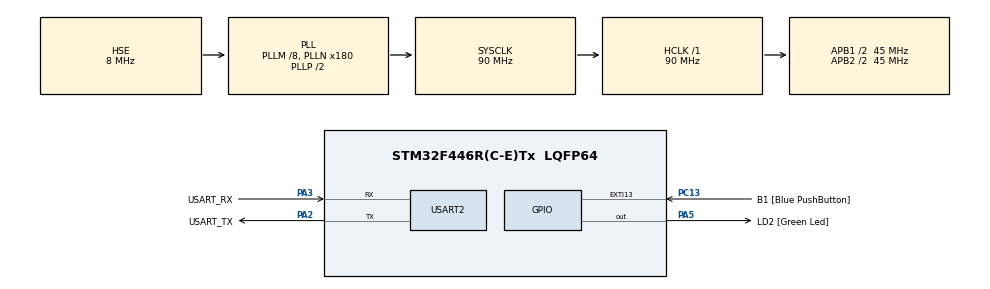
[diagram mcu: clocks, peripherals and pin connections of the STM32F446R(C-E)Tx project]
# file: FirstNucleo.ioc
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FREERTOS.Tasks01=defaultTask,24,128,StartDefaultTask,Default,NULL,Dynamic,NULL,NULL
FREERTOS.configENABLE_FPU=1
Mcu.Family=STM32F4
Mcu.Name=STM32F446R(C-E)Tx
Mcu.Package=LQFP64
NVIC.PriorityGroup=NVIC_PRIORITYGROUP_4
NVIC.TIM1_UP_TIM10_IRQn=true\:15\:0\:false\:false\:true\:false\:false\:true
NVIC.TimeBase=TIM1_UP_TIM10_IRQn
NVIC.TimeBaseIP=TIM1
NVIC.USART2_IRQn=true\:5\:0\:false\:false\:true\:true\:true\:true
PA13.GPIO_Label=TMS
PA13.Mode=Serial_Wire
PA13.Signal=SYS_JTMS-SWDIO
PA14.GPIO_Label=TCK
PA14.Mode=Serial_Wire
PA14.Signal=SYS_JTCK-SWCLK
PA2.GPIO_Label=USART_TX
PA2.Mode=Asynchronous
PA2.Signal=USART2_TX
PA3.GPIO_Label=USART_RX
PA3.Mode=Asynchronous
PA3.Signal=USART2_RX
PA5.GPIO_Label=LD2 [Green Led]
PA5.Signal=GPIO_Output
PB3.GPIO_Label=SWO
PB3.Signal=SYS_JTDO-SWO
PC13.GPIO_Label=B1 [Blue PushButton]
PC13.GPIO_ModeDefaultEXTI=GPIO_MODE_IT_FALLING
PC13.Signal=GPXTI13
PC14-OSC32_IN.Mode=LSE-External-Oscillator
PC14-OSC32_IN.Signal=RCC_OSC32_IN
PC15-OSC32_OUT.Mode=LSE-External-Oscillator
PC15-OSC32_OUT.Signal=RCC_OSC32_OUT
PH0-OSC_IN.Mode=HSE-External-Oscillator
PH0-OSC_IN.Signal=RCC_OSC_IN
PH1-OSC_OUT.Mode=HSE-External-Oscillator
PH1-OSC_OUT.Signal=RCC_OSC_OUT
ProjectManager.HeapSize=0x200
ProjectManager.StackSize=0x400
ProjectManager.TargetToolchain=Makefile
RCC.48MHZClocksFreq_Value=84000000
RCC.AHBFreq_Value=90000000
RCC.APB1CLKDivider=RCC_HCLK_DIV2
RCC.APB1Freq_Value=45000000
RCC.APB1TimFreq_Value=90000000
RCC.APB2CLKDivider=RCC_HCLK_DIV2
RCC.APB2Freq_Value=45000000
RCC.APB2TimFreq_Value=90000000
RCC.CortexFreq_Value=90000000
RCC.FLatency-AdvancedSettings=FLASH_LATENCY_2
RCC.HCLKFreq_Value=90000000
RCC.HSE_VALUE=8000000
RCC.HSI_VALUE=16000000
RCC.PLLM=8
RCC.PLLN=180
RCC.PLLSourceVirtual=RCC_PLLSOURCE_HSE
RCC.SYSCLKFreq_VALUE=90000000
RCC.SYSCLKSource=RCC_SYSCLKSOURCE_PLLCLK
RCC.USBFreq_Value=90000000
RCC.VCOOutputFreq_Value=180000000
USART2.VirtualMode=VM_ASYNC
VP_FREERTOS_VS_CMSIS_V2.Mode=CMSIS_V2
VP_SYS_VS_tim1.Mode=TIM1
board=NUCLEO-F446RE

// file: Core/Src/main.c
/* USER CODE BEGIN Header */
/**
  ******************************************************************************
  * @file           : main.c
  * @brief          : Main program body
  ******************************************************************************
  * @attention
  *
  * <h2><center>&copy; Copyright (c) 2021 STMicroelectronics.
  * All rights reserved.</center></h2>
  *
  * This software component is licensed by ST under Ultimate Liberty license
  * SLA0044, the "License"; You may not use this file except in compliance with
  * the License. You may obtain a copy of the License at:
  *                             www.st.com/SLA0044
  *
  ******************************************************************************
  */
/* USER CODE END Header */
#include "main.h"
#include "cmsis_os.h"

UART_HandleTypeDef huart2;

/* Definitions for defaultTask */
osThreadId_t defaultTaskHandle;
const osThreadAttr_t defaultTask_attributes = {
  .name = "defaultTask",
  .stack_size = 128 * 4,
  .priority = (osPriority_t) osPriorityNormal,
};
/* USER CODE BEGIN PV */
osThreadId_t rxTaskHandle;
const osThreadAttr_t rxTask_attributes = {
  .name = "rxTask",
  .stack_size = 128 * 4,
  .priority = (osPriority_t) osPriorityNormal,
};
osThreadId_t txTaskHandle;
const osThreadAttr_t txTask_attributes = {
  .name = "txTask",
  .stack_size = 128 * 4,
  .priority = (osPriority_t) osPriorityNormal,
};
osThreadId_t cliTaskHandle;
const osThreadAttr_t cliTask_attributes = {
  .name = "cliTask",
  .stack_size = 128 * 4,
  .priority = (osPriority_t) osPriorityNormal,
};

// for rx task
size_t rxBufferPos = 0;
uint8_t rxBuffer[RX_BUFFER_SIZE]; // Stores the partially received message
uint8_t rxByte; // Stores the recieved byte
size_t txBufferSize = 0;
uint8_t txBuffer[TX_BUFFER_SIZE];
char cliBuffer[CLI_BUFFER_SIZE];

// For rx stream
uint8_t rxStreamBufferWorkspace[RX_BUFFER_SIZE+1];
StaticStreamBuffer_t rxStreamBufferStruct;
StreamBufferHandle_t rxStreamBufferHandle;

// For tx message buffer
uint8_t txMessageBufferWorkspace[TX_BUFFER_SIZE+1];
StaticMessageBuffer_t txMessageBufferStruct;
MessageBufferHandle_t txMessageBufferHandle;
SemaphoreHandle_t txCompleteSemaphore;

uint8_t cliMessageBufferWorkspace[CLI_BUFFER_SIZE+1];
StaticMessageBuffer_t cliMessageBufferStruct;
MessageBufferHandle_t cliMessageBufferHandle;
/* USER CODE END PV */

void SystemClock_Config(void);
static void MX_GPIO_Init(void);
static void MX_USART2_UART_Init(void);
void StartDefaultTask(void *argument);

/* USER CODE BEGIN PFP */
void StartRxTask(void * args);
void StartTxTask(void * args);
void StartCLITask(void * args);

extern void RegisterCLICommands(void);
/* USER CODE END PFP */

int main(void)
{

  /* MCU Configuration--------------------------------------------------------*/

  /* Reset of all peripherals, Initializes the Flash interface and the Systick. */
  HAL_Init();

  /* Configure the system clock */
  SystemClock_Config();

  /* Initialize all configured peripherals */
  MX_GPIO_Init();
  MX_USART2_UART_Init();
  /* USER CODE BEGIN 2 */

  RegisterCLICommands();

  HAL_StatusTypeDef status = HAL_UART_Transmit(&huart2, (uint8_t*) "Starting...\n", sizeof "Starting...\n", 1000);
  if (status != HAL_OK) {
    HAL_GPIO_WritePin(LD2_GPIO_Port, LD2_Pin, GPIO_PIN_SET);
    for (;;){}
  }
  /* USER CODE END 2 */

  /* Init scheduler */
  osKernelInitialize();

  /* USER CODE BEGIN RTOS_SEMAPHORES */
  /* add semaphores, ... */
  txCompleteSemaphore = xSemaphoreCreateBinary();
  if (txCompleteSemaphore == NULL) Error_Handler();
  /* USER CODE END RTOS_SEMAPHORES */

  /* USER CODE BEGIN RTOS_QUEUES */
  /* add queues, ... */
  rxStreamBufferHandle = xStreamBufferCreateStatic(RX_BUFFER_SIZE, 1, rxStreamBufferWorkspace, &rxStreamBufferStruct);
  txMessageBufferHandle = xMessageBufferCreateStatic(TX_BUFFER_SIZE, txMessageBufferWorkspace, &txMessageBufferStruct);
  cliMessageBufferHandle = xMessageBufferCreateStatic(CLI_BUFFER_SIZE, cliMessageBufferWorkspace, &cliMessageBufferStruct);
/* USER CODE END RTOS_QUEUES */

  /* Create the thread(s) */
  /* creation of defaultTask */
  defaultTaskHandle = osThreadNew(StartDefaultTask, NULL, &defaultTask_attributes);

  /* USER CODE BEGIN RTOS_THREADS */
  /* add threads, ... */
  rxTaskHandle = osThreadNew(StartRxTask, NULL, &rxTask_attributes);
  txTaskHandle = osThreadNew(StartTxTask, NULL, &txTask_attributes);
  cliTaskHandle = osThreadNew(StartCLITask, NULL, &cliTask_attributes);
  /* USER CODE END RTOS_THREADS */

  /* Start scheduler */
  osKernelStart();

  /* We should never get here as control is now taken by the scheduler */
  /* Infinite loop */
  while (1)
  {

  }
}

void SystemClock_Config(void)
{
  RCC_OscInitTypeDef RCC_OscInitStruct = {0};
  RCC_ClkInitTypeDef RCC_ClkInitStruct = {0};

  /** Configure the main internal regulator output voltage
  */
  __HAL_RCC_PWR_CLK_ENABLE();
  __HAL_PWR_VOLTAGESCALING_CONFIG(PWR_REGULATOR_VOLTAGE_SCALE3);
  /** Initializes the RCC Oscillators according to the specified parameters
  * in the RCC_OscInitTypeDef structure.
  */
  RCC_OscInitStruct.OscillatorType = RCC_OSCILLATORTYPE_HSE;
  RCC_OscInitStruct.HSEState = RCC_HSE_ON;
  RCC_OscInitStruct.PLL.PLLState = RCC_PLL_ON;
  RCC_OscInitStruct.PLL.PLLSource = RCC_PLLSOURCE_HSE;
  RCC_OscInitStruct.PLL.PLLM = 8;
  RCC_OscInitStruct.PLL.PLLN = 180;
  RCC_OscInitStruct.PLL.PLLP = RCC_PLLP_DIV2;
  RCC_OscInitStruct.PLL.PLLQ = 2;
  RCC_OscInitStruct.PLL.PLLR = 2;
  if (HAL_RCC_OscConfig(&RCC_OscInitStruct) != HAL_OK)
  {
    Error_Handler();
  }
  /** Initializes the CPU, AHB and APB buses clocks
  */
  RCC_ClkInitStruct.ClockType = RCC_CLOCKTYPE_HCLK|RCC_CLOCKTYPE_SYSCLK
                              |RCC_CLOCKTYPE_PCLK1|RCC_CLOCKTYPE_PCLK2;
  RCC_ClkInitStruct.SYSCLKSource = RCC_SYSCLKSOURCE_PLLCLK;
  RCC_ClkInitStruct.AHBCLKDivider = RCC_SYSCLK_DIV1;
  RCC_ClkInitStruct.APB1CLKDivider = RCC_HCLK_DIV2;
  RCC_ClkInitStruct.APB2CLKDivider = RCC_HCLK_DIV2;

  if (HAL_RCC_ClockConfig(&RCC_ClkInitStruct, FLASH_LATENCY_2) != HAL_OK)
  {
    Error_Handler();
  }
}

static void MX_USART2_UART_Init(void)
{

  huart2.Instance = USART2;
  huart2.Init.BaudRate = 115200;
  huart2.Init.WordLength = UART_WORDLENGTH_8B;
  huart2.Init.StopBits = UART_STOPBITS_1;
  huart2.Init.Parity = UART_PARITY_NONE;
  huart2.Init.Mode = UART_MODE_TX_RX;
  huart2.Init.HwFlowCtl = UART_HWCONTROL_NONE;
  huart2.Init.OverSampling = UART_OVERSAMPLING_16;
  if (HAL_UART_Init(&huart2) != HAL_OK)
  {
    Error_Handler();
  }

}

static void MX_GPIO_Init(void)
{
  GPIO_InitTypeDef GPIO_InitStruct = {0};

  /* GPIO Ports Clock Enable */
  __HAL_RCC_GPIOC_CLK_ENABLE();
  __HAL_RCC_GPIOH_CLK_ENABLE();
  __HAL_RCC_GPIOA_CLK_ENABLE();
  __HAL_RCC_GPIOB_CLK_ENABLE();

  /*Configure GPIO pin Output Level */
  HAL_GPIO_WritePin(LD2_GPIO_Port, LD2_Pin, GPIO_PIN_RESET);

  /*Configure GPIO pin : B1_Pin */
  GPIO_InitStruct.Pin = B1_Pin;
  GPIO_InitStruct.Mode = GPIO_MODE_IT_FALLING;
  GPIO_InitStruct.Pull = GPIO_NOPULL;
  HAL_GPIO_Init(B1_GPIO_Port, &GPIO_InitStruct);

  /*Configure GPIO pin : LD2_Pin */
  GPIO_InitStruct.Pin = LD2_Pin;
  GPIO_InitStruct.Mode = GPIO_MODE_OUTPUT_PP;
  GPIO_InitStruct.Pull = GPIO_NOPULL;
  GPIO_InitStruct.Speed = GPIO_SPEED_FREQ_LOW;
  HAL_GPIO_Init(LD2_GPIO_Port, &GPIO_InitStruct);

}

/* USER CODE BEGIN 4 */
void HAL_UART_RxCpltCallback(UART_HandleTypeDef *huart)
{
  if (rxByte != (uint8_t) '\r'){ // Ignore carriage return character
    xStreamBufferSendFromISR(rxStreamBufferHandle, &rxByte, 1, NULL);
  }

  HAL_UART_Receive_IT(huart, &rxByte, 1);
}

void HAL_UART_TxCpltCallback(UART_HandleTypeDef *huart) {
  xSemaphoreGiveFromISR(txCompleteSemaphore, NULL);
}

void StartRxTask(void * args)
{
  HAL_UART_Receive_IT(&huart2, &rxByte, 1);
  size_t messageIndex = 0;
  uint8_t* currentMessage = pvPortMalloc(RX_BUFFER_SIZE);

  if (currentMessage == NULL) {
    Error_Handler();
  }

  for (;;)
  {
    // TODO: Should occasionally timeout to check that no error has occured.
    size_t num_received = xStreamBufferReceive(
      rxStreamBufferHandle,
      rxBuffer + rxBufferPos,
      RX_BUFFER_SIZE - rxBufferPos,
      portMAX_DELAY);

    // Add new data to tx message queue, do not wait for space in queue
    xMessageBufferSend(txMessageBufferHandle, rxBuffer + rxBufferPos, num_received, 0);

    for (size_t i = 0; i < num_received; i++)
    {
      if (rxBuffer[i] != '\n')
      {
        currentMessage[messageIndex] = rxBuffer[i];
        messageIndex++;
      }
      else
      {
        xMessageBufferSend(cliMessageBufferHandle, currentMessage, messageIndex, 0);
        messageIndex = 0;
      }
    }
  }
}

#define START_MESSAGE "Hello from Tx!\n"
void StartTxTask(void * args)
{
  HAL_UART_Transmit_IT(&huart2, (uint8_t*) START_MESSAGE, sizeof START_MESSAGE);
  xSemaphoreTake(txCompleteSemaphore, portMAX_DELAY);

  for (;;)
  {
    // Wait for a message to send
    size_t messageSize = xMessageBufferReceive(txMessageBufferHandle, txBuffer, TX_BUFFER_SIZE, portMAX_DELAY);

    HAL_UART_Transmit_IT(&huart2, txBuffer, messageSize);

    // Wait for notification that message has been sent
    xSemaphoreTake(txCompleteSemaphore, portMAX_DELAY);
  }
}

void StartCLITask(void * args)
{
  for (;;) {
    xMessageBufferReceive(cliMessageBufferHandle, cliBuffer, CLI_BUFFER_SIZE, portMAX_DELAY);
    char* cliOutputBuffer = pvPortMalloc(CLI_BUFFER_SIZE);
    if (cliOutputBuffer == NULL) continue;  // If unable to allocate mem to heap for buffer, skip this message.

    // Parse command
    BaseType_t hasData;
    do {
      hasData = FreeRTOS_CLIProcessCommand(cliBuffer, cliOutputBuffer, CLI_BUFFER_SIZE);

      // Send response if there is a new line available
      if (hasData) xMessageBufferSend(txMessageBufferHandle, cliOutputBuffer, strlen(cliOutputBuffer), 0);
    } while (hasData != pdFALSE);

    // Cleanup memory
    vPortFree(cliOutputBuffer);
  }
}
/* USER CODE END 4 */

void StartDefaultTask(void *argument)
{
  /* USER CODE BEGIN 5 */
  /* Infinite loop */
  for(;;)
  {
    // Delay a second
    osDelay(1000);
    // Flash LED2
    HAL_GPIO_TogglePin(LD2_GPIO_Port, LD2_Pin);
  }
  /* USER CODE END 5 */
}

void HAL_TIM_PeriodElapsedCallback(TIM_HandleTypeDef *htim)
{
  if (htim->Instance == TIM1) {
    HAL_IncTick();
  }
}

void Error_Handler(void)
{
  __disable_irq();
  while (1)
  {
  }
}

/************************ (C) COPYRIGHT STMicroelectronics *****END OF FILE****/
